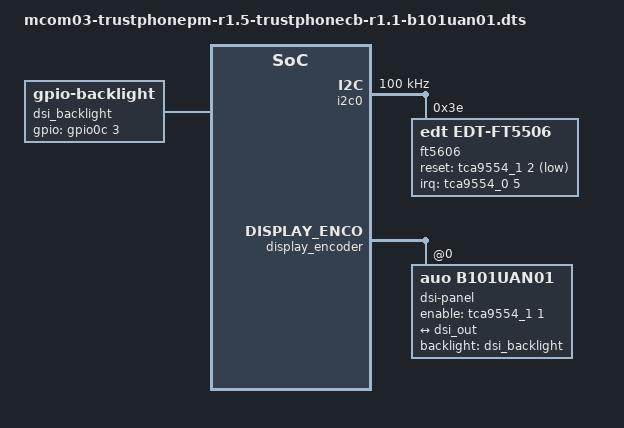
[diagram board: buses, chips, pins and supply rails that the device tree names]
// SPDX-License-Identifier: GPL-2.0+
/*
 * Copyright 2021 RnD Center "ELVEES", JSC
 */

/dts-v1/;

#include "mcom03-trustphonepm-r1.5-trustphonecb-r1.1.dts"

/ {
	dsi_backlight: dsi-backlight {
		compatible = "gpio-backlight";
		gpios = <&gpio0c 3 GPIO_ACTIVE_HIGH>;
		default-on;
	};
};

&i2c0 {
	clock-frequency = <100000>;
	status = "okay";

	ft5606: touchscreen@3e {
		/* FT5606 is compatible with FT5506 */
		compatible = "edt,edt-ft5506";
		reg = <0x3e>;
		interrupt-parent = <&tca9554_0>;
		interrupts = <5 IRQ_TYPE_EDGE_FALLING>;
		reset-gpios = <&tca9554_1 2 GPIO_ACTIVE_LOW>;
		touchscreen-size-x = <768>;
		touchscreen-size-y = <1024>;
		touchscreen-x-mm = <135>;
		touchscreen-y-mm = <216>;
		touchscreen-swapped-x-y;
		touchscreen-inverted-y;
	};
};

&i2c4 {
	/delete-node/ hdmi@39;
};

&display_encoder {
	video-output = "dsi";
	dsi-clock-frequency = <500000000>;

	dsi-panel@0 {
		#address-cells = <1>;
		#size-cells = <0>;
		compatible = "auo,b101uan01";
		reg = <0>;
		backlight = <&dsi_backlight>;
		enable-gpios = <&tca9554_1 1 GPIO_ACTIVE_HIGH>;

		ports {
			port {
				panel_in: endpoint {
					remote-endpoint = <&dsi_out>;
				};
			};
		};
	};

	ports {
		/delete-node/ port@2;

		port@1 {
			reg = <1>;

			dsi_out: endpoint {
				remote-endpoint = <&panel_in>;
			};
		};
	};
};
